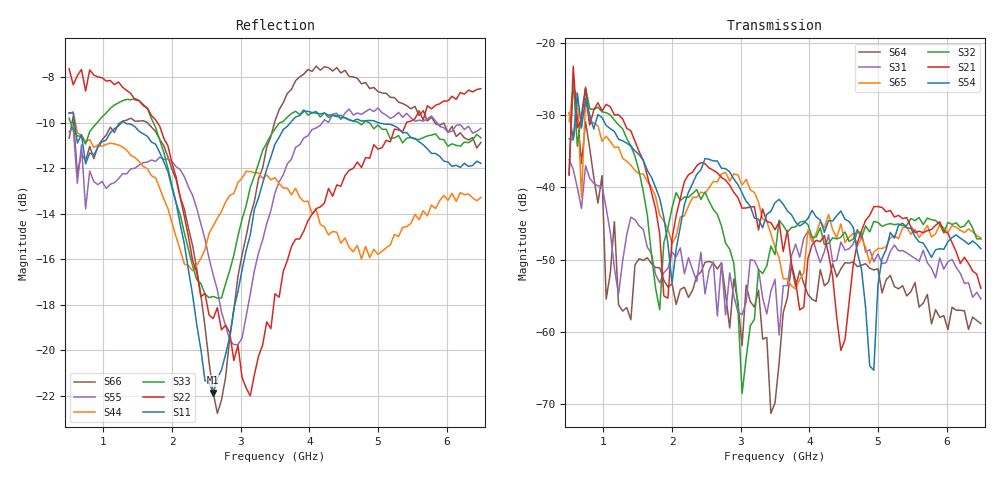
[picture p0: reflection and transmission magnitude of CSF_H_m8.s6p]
!Keysight Technologies,M9804A,MY58100912,A.14.10.03
!Date: Thursday, April 27, 2023 10:28:33
!Correction: S11(C  6-Port  )
!S12(C  6-Port  )
!S13(C  6-Port  )
!S14(C  6-Port  )
!S15(C  6-Port  )
!S16(C  6-Port  )
!S21(C  6-Port  )
!S22(C  6-Port  )
!S23(C  6-Port  )
!S24(C  6-Port  )
!S25(C  6-Port  )
!S26(C  6-Port  )
!S31(C  6-Port  )
!S32(C  6-Port  )
!S33(C  6-Port  )
!S34(C  6-Port  )
!S35(C  6-Port  )
!S36(C  6-Port  )
!S41(C  6-Port  )
!S42(C  6-Port  )
!S43(C  6-Port  )
!S44(C  6-Port  )
!S45(C  6-Port  )
!S46(C  6-Port  )
!S51(C  6-Port  )
!S52(C  6-Port  )
!S53(C  6-Port  )
!S54(C  6-Port  )
!S55(C  6-Port  )
!S56(C  6-Port  )
!S61(C  6-Port  )
!S62(C  6-Port  )
!S63(C  6-Port  )
!S64(C  6-Port  )
!S65(C  6-Port  )
!S66(C  6-Port  )
!S6P File: Measurement: :
# Hz S  RI  R 50
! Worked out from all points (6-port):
!   101 points, 500 MHz to 6.5 GHz, reference 50 ohm
!   strongest paths, dB at 500 MHz, 2 GHz, 3.5 GHz, 5 GHz, 6.5 GHz:
!     S54: -33.3, -53.3, -42.1, -53.5, -48.5
!     S21: -38.3, -47.1, -45.9, -42.6, -54.0
!     S32: -38.1, -42.8, -49.3, -44.8, -47.1
!     S65: -30.9, -47.8, -48.3, -48.5, -47.0
!     S31: -36.1, -49.0, -52.7, -49.2, -55.4
!     S64: -29.7, -53.3, -69.9, -51.3, -58.9
!   lowest |S11| = -21.9 dB at 2.6 GHz (marker M1), VSWR 1.18, Z = 42.8 + j1.97 ohm
!   |S11| at or under -10 dB: 579.5 MHz to 1.26 GHz (680.2 MHz wide, 74 % of centre); 1.32 GHz to 3.722 GHz (2.402 GHz wide, 95.3 % of centre); 5.018 GHz to end of sweep
